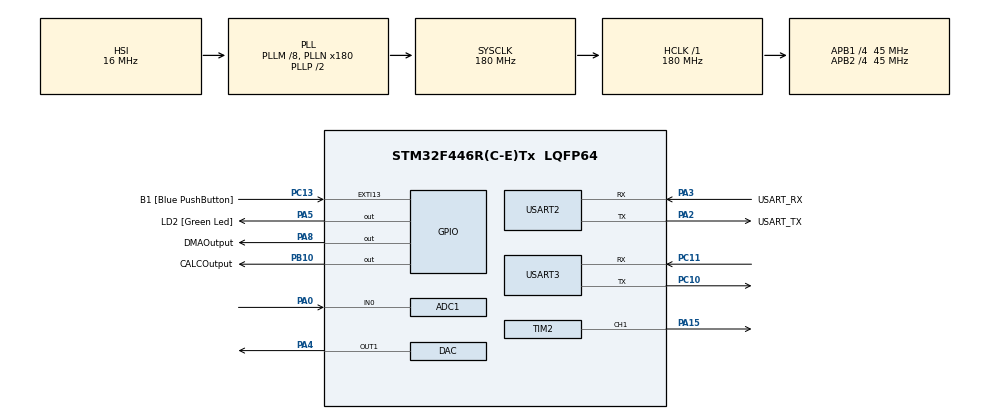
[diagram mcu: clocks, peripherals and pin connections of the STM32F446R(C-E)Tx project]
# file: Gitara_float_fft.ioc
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ADC1.Channel-0\#ChannelRegularConversion=ADC_CHANNEL_0
ADC1.ExternalTrigConv=ADC_EXTERNALTRIGCONV_T2_TRGO
ADC1.ExternalTrigConvEdge=ADC_EXTERNALTRIGCONVEDGE_RISINGFALLING
ADC1.NbrOfConversion=1
ADC1.NbrOfConversionFlag=1
ADC1.Rank-0\#ChannelRegularConversion=1
ADC1.SamplingTime-0\#ChannelRegularConversion=ADC_SAMPLETIME_112CYCLES
ADC1.master=1
DAC.DAC_OutputBuffer=DAC_OUTPUTBUFFER_DISABLE
DAC.DAC_Trigger=DAC_TRIGGER_T2_TRGO
Dma.ADC1.0.Direction=DMA_PERIPH_TO_MEMORY
Dma.ADC1.0.FIFOMode=DMA_FIFOMODE_DISABLE
Dma.ADC1.0.Instance=DMA2_Stream0
Dma.ADC1.0.MemDataAlignment=DMA_MDATAALIGN_HALFWORD
Dma.ADC1.0.MemInc=DMA_MINC_ENABLE
Dma.ADC1.0.Mode=DMA_CIRCULAR
Dma.ADC1.0.PeriphDataAlignment=DMA_PDATAALIGN_HALFWORD
Dma.ADC1.0.PeriphInc=DMA_PINC_DISABLE
Dma.ADC1.0.Priority=DMA_PRIORITY_LOW
Dma.DAC1.2.Direction=DMA_MEMORY_TO_PERIPH
Dma.DAC1.2.FIFOMode=DMA_FIFOMODE_DISABLE
Dma.DAC1.2.Instance=DMA1_Stream5
Dma.DAC1.2.MemDataAlignment=DMA_MDATAALIGN_HALFWORD
Dma.DAC1.2.MemInc=DMA_MINC_ENABLE
Dma.DAC1.2.Mode=DMA_CIRCULAR
Dma.DAC1.2.PeriphDataAlignment=DMA_PDATAALIGN_HALFWORD
Dma.DAC1.2.PeriphInc=DMA_PINC_DISABLE
Dma.DAC1.2.Priority=DMA_PRIORITY_LOW
Dma.Request0=ADC1
Dma.Request1=USART3_TX
Dma.Request2=DAC1
Dma.USART3_TX.1.Direction=DMA_MEMORY_TO_PERIPH
Dma.USART3_TX.1.FIFOMode=DMA_FIFOMODE_DISABLE
Dma.USART3_TX.1.Instance=DMA1_Stream3
Dma.USART3_TX.1.MemDataAlignment=DMA_MDATAALIGN_BYTE
Dma.USART3_TX.1.MemInc=DMA_MINC_ENABLE
Dma.USART3_TX.1.Mode=DMA_NORMAL
Dma.USART3_TX.1.PeriphDataAlignment=DMA_PDATAALIGN_BYTE
Dma.USART3_TX.1.PeriphInc=DMA_PINC_DISABLE
Dma.USART3_TX.1.Priority=DMA_PRIORITY_LOW
Mcu.Family=STM32F4
Mcu.Name=STM32F446R(C-E)Tx
Mcu.Package=LQFP64
NVIC.DMA1_Stream3_IRQn=true\:0\:0\:false\:false\:true\:false\:true\:true
NVIC.DMA1_Stream5_IRQn=true\:0\:0\:false\:false\:true\:false\:true\:true
NVIC.DMA2_Stream0_IRQn=true\:0\:0\:false\:false\:true\:false\:true\:true
NVIC.PriorityGroup=NVIC_PRIORITYGROUP_0
NVIC.USART2_IRQn=true\:0\:0\:false\:false\:true\:true\:true\:true
NVIC.USART3_IRQn=true\:0\:0\:false\:false\:true\:true\:true\:true
PA0-WKUP.Signal=ADCx_IN0
PA13.GPIO_Label=TMS
PA13.Mode=Serial_Wire
PA13.Signal=SYS_JTMS-SWDIO
PA14.GPIO_Label=TCK
PA14.Mode=Serial_Wire
PA14.Signal=SYS_JTCK-SWCLK
PA15.Signal=S_TIM2_CH1_ETR
PA2.GPIO_Label=USART_TX
PA2.Mode=Asynchronous
PA2.Signal=USART2_TX
PA3.GPIO_Label=USART_RX
PA3.Mode=Asynchronous
PA3.Signal=USART2_RX
PA4.Signal=COMP_DAC1_group
PA5.GPIO_Label=LD2 [Green Led]
PA5.Signal=GPIO_Output
PA8.GPIO_Label=DMAOutput
PA8.GPIO_Speed=GPIO_SPEED_FREQ_MEDIUM
PA8.Signal=GPIO_Output
PB10.GPIO_Label=CALCOutput
PB10.Signal=GPIO_Output
PB3.GPIO_Label=SWO
PB3.Signal=SYS_JTDO-SWO
PC10.Mode=Asynchronous
PC10.Signal=USART3_TX
PC11.Mode=Asynchronous
PC11.Signal=USART3_RX
PC13.GPIO_Label=B1 [Blue PushButton]
PC13.GPIO_ModeDefaultEXTI=GPIO_MODE_IT_FALLING
PC13.Signal=GPXTI13
PC14-OSC32_IN.Mode=LSE-External-Oscillator
PC14-OSC32_IN.Signal=RCC_OSC32_IN
PC15-OSC32_OUT.Mode=LSE-External-Oscillator
PC15-OSC32_OUT.Signal=RCC_OSC32_OUT
PH0-OSC_IN.Mode=HSE-External-Oscillator
PH0-OSC_IN.Signal=RCC_OSC_IN
PH1-OSC_OUT.Mode=HSE-External-Oscillator
PH1-OSC_OUT.Signal=RCC_OSC_OUT
ProjectManager.HeapSize=0x200
ProjectManager.StackSize=0x400
ProjectManager.TargetToolchain=STM32CubeIDE
RCC.48MHZClocksFreq_Value=84000000
RCC.AHBFreq_Value=180000000
RCC.APB1CLKDivider=RCC_HCLK_DIV4
RCC.APB1Freq_Value=45000000
RCC.APB1TimFreq_Value=90000000
RCC.APB2CLKDivider=RCC_HCLK_DIV4
RCC.APB2Freq_Value=45000000
RCC.APB2TimFreq_Value=90000000
RCC.CortexFreq_Value=180000000
RCC.FLatency-AdvancedSettings=FLASH_LATENCY_5
RCC.HCLKFreq_Value=180000000
RCC.HSE_VALUE=8000000
RCC.HSI_VALUE=16000000
RCC.PLLM=8
RCC.PLLN=180
RCC.SYSCLKFreq_VALUE=180000000
RCC.SYSCLKSource=RCC_SYSCLKSOURCE_PLLCLK
RCC.USBFreq_Value=180000000
RCC.VCOOutputFreq_Value=360000000
SH.ADCx_IN0.0=ADC1_IN0,IN0
SH.COMP_DAC1_group.0=DAC_OUT1,DAC_OUT1
SH.S_TIM2_CH1_ETR.0=TIM2_CH1,Output Compare1 CH1
TIM2.Channel-Output\ Compare1\ CH1=TIM_CHANNEL_1
TIM2.OC1Preload=DISABLE
TIM2.OCMode_1=TIM_OCMODE_TOGGLE
TIM2.Period=149
TIM2.Prescaler=59
TIM2.Pulse-Output\ Compare1\ CH1=0
TIM2.TIM_MasterOutputTrigger=TIM_TRGO_UPDATE
USART2.VirtualMode=VM_ASYNC
USART3.VirtualMode=VM_ASYNC
VP_TIM2_VS_ClockSourceINT.Mode=Internal
board=NUCLEO-F446RE

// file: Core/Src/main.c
/* USER CODE BEGIN Header */
/**
  ******************************************************************************
  * @file           : main.c
  * @brief          : Main program body
  ******************************************************************************
  * @attention
  *
  * Copyright (c) 2023 STMicroelectronics.
  * All rights reserved.
  *
  * This software is licensed under terms that can be found in the LICENSE file
  * in the root directory of this software component.
  * If no LICENSE file comes with this software, it is provided AS-IS.
  *
  ******************************************************************************
  */
/* USER CODE END Header */
#include "main.h"

/* USER CODE BEGIN Includes */
#include <stdio.h>
#include <stdlib.h>
#define ARM_MATH_CM4
#include "arm_math.h"
/* USER CODE END Includes */

ADC_HandleTypeDef hadc1;
DMA_HandleTypeDef hdma_adc1;

DAC_HandleTypeDef hdac;
DMA_HandleTypeDef hdma_dac1;

TIM_HandleTypeDef htim2;

UART_HandleTypeDef huart2;
UART_HandleTypeDef huart3;
DMA_HandleTypeDef hdma_usart3_tx;

/* USER CODE BEGIN PV */
#define DMABUFLEN 512
#define BUFLEN 256
#define FFTBUFLEN 2048
volatile static uint16_t dmaBuffer[DMABUFLEN] = {0};
float32_t hannWindow1[BUFLEN];
float32_t hannWindow2[2*BUFLEN];
float32_t hannWindow3[BUFLEN/2];
uint16_t signal0[2*BUFLEN];
float32_t signal0filtered[2*BUFLEN];
uint16_t signalbuffer0[2*BUFLEN];
float32_t signalfilteredbuffer0[2*BUFLEN];
uint16_t maxpp[6];
uint16_t maxpp0 = 0;
uint16_t maxpp1 = 0;
uint16_t maxpp2 = 0;
uint16_t maxpp3 = 0;
uint16_t maxpp4 = 0;
uint16_t maxpp5 = 0;
uint16_t fund[6];
float32_t fundamental0 = 0;
float32_t fundamental1 = 0;
float32_t fundamental2 = 0;
float32_t fundamental3 = 0;
float32_t fundamental4 = 0;
float32_t fundamental5 = 0;
uint8_t signalnumber = 0;
uint32_t print = 0;

uint16_t FreqNotes[47] = {
  78, 82, 87, 93, 98, 104, 110, 116, 124, 130, 139, 147, 155, 165, 175, 185, 196, 208, 220, 233, 247, 262, 277, 293, 311, 330, 349, 370, 392,
  415, 440, 466, 494, 523, 554, 587, 622, 659, 698, 740, 784, 831, 880, 932, 988, 1047, 1109
};
uint16_t FreqRange[46];
uint16_t NoteNew[6];
uint16_t NoteOld[6];
uint16_t maxppOld[6];
int16_t Delta[6];
uint8_t txBuffer[6];
//uint16_t Treshold[6] = {1000, 1000, 1000, 1000, 1000, 1000};
uint16_t Treshold[6] = {800, 800, 800, 400, 750, 650};

uint8_t FIR_LENGHT = 31;
float32_t fir_coefficients10k[31]  = {-0.0021043, 0.0000019, 0.0046466, -0.0000007, -0.0094219, 0.0000029, 0.0172049, -0.0000020, -0.0297785, 0.0000052, 0.0515218, -0.0000041, -0.0984164, 0.0000048, 0.3156787, 0.4999957, 0.3156787, 0.0000048, -0.0984164, -0.0000041, 0.0515218, 0.0000052, -0.0297785, -0.0000020, 0.0172049, 0.0000029, -0.0094219, -0.0000007, 0.0046466, 0.0000019, -0.0021043};
float32_t fir_coefficients5k[31]  =  {0.0005669, -0.0002630, -0.0022233, -0.0038547, -0.0018613, 0.0053228, 0.0135453, 0.0133131, -0.0027602, -0.0295939, -0.0460559, -0.0251788, 0.0457091, 0.1495368, 0.2430896, 0.2807522, 0.2430896, 0.1495368, 0.0457091, -0.0251788, -0.0460559, -0.0295939, -0.0027602, 0.0133131, 0.0135453, 0.0053228, -0.0018613, -0.0038547, -0.0022233, -0.00026530, 0.0005669};
float32_t fir_coefficients2_5k[31] = {0.0064131, 0.0057191, 0.0051066, 0.0013561, -0.0056292, -0.0145003, -0.0224276, -0.0255772, -0.0201251, -0.0035005, 0.0244877, 0.0610609, 0.1007693, 0.1365633, 0.1614632, 0.1703842, 0.1614632, 0.1365633, 0.1007693, 0.0610609, 0.0244877, -0.0035005, -0.0201251, -0.0255772, -0.0224276, -0.0145003, -0.0056292, 0.0013561, 0.0051066, 0.0057191, 0.0064131};
arm_fir_instance_f32 fir_instance0;
float32_t fir_in_arm0;
float32_t fir_out_arm0;
float32_t fir_state0[31];

// SINE_TABLE_SIZE = Fs / Fsine
#define SINE_TABLE_SIZE 45
uint16_t sine_table[SINE_TABLE_SIZE];

/* USER CODE END PV */

void SystemClock_Config(void);
static void MX_GPIO_Init(void);
static void MX_DMA_Init(void);
static void MX_USART2_UART_Init(void);
static void MX_ADC1_Init(void);
static void MX_TIM2_Init(void);
static void MX_USART3_UART_Init(void);
static void MX_DAC_Init(void);
/* USER CODE BEGIN PFP */
void filter(uint16_t inputArray[], uint16_t size, float32_t coefficients[], uint16_t outputArray[], uint16_t lastSamples[]);
void calculateFFT(float32_t inputArray[], uint16_t size, uint16_t* maxpp, float32_t* fundamental, uint16_t fs);
void FundamentalToNote(uint16_t FundamentalNew[], uint16_t NoteNew[6], uint16_t FreqRange[46]);
/* USER CODE END PFP */

/* USER CODE BEGIN 0 */
int __io_putchar(int ch)
{
  if (ch == '\n') {
    __io_putchar('\r');
  }

  HAL_UART_Transmit(&huart2, (uint8_t*)&ch, 1, HAL_MAX_DELAY);

  return 1;
}

void generate_sine_table(void){
	for(int i = 0; i<SINE_TABLE_SIZE; i++){
		float angle = (2.0f * M_PI * i)/ (float)SINE_TABLE_SIZE;
		float sine_value = (sinf(angle) + 1.0f)/2.0f;
		sine_table[i] = (uint16_t)(sine_value * 4095);
	}
}

void calculateFFT(float32_t inputArray[], uint16_t size, uint16_t* maxpp, float32_t* fundamental, uint16_t fs) {
	// Zmiana stanu na pinie PB10 Debug
	HAL_GPIO_TogglePin(CALCOutput_GPIO_Port, CALCOutput_Pin);
	//Przekonwertowanie sygnału z uint16 na float32
    float32_t signal_float32[size];
	for (int i = 0; i < size; i++){
		signal_float32[i] = inputArray[i];
	}
	//Obliczenie wartości średniej sygnału/składowej stałej oraz jej odjęcie
    float32_t mean = 0.0f;
    arm_mean_f32(signal_float32, size,  &mean);
    arm_offset_f32(signal_float32, -mean, signal_float32, size);
    //Nałożenie okna Hanna na sygnał
    float32_t signal_filtered[size];
	if(size==BUFLEN){
		arm_mult_f32(signal_float32, hannWindow1, signal_filtered, size);
	}else if(size==2*BUFLEN)
		arm_mult_f32(signal_float32, hannWindow2, signal_filtered, size);
	else arm_mult_f32(signal_float32, hannWindow3, signal_filtered, size);
	//Znalezienie wartości międzyszczytowych
	float32_t max;
	float32_t min;
	uint32_t maxIndex;
	uint32_t minIndex;
	arm_max_f32(signal_filtered, size, &max, &maxIndex);
	arm_min_f32(signal_filtered, size, &min, &minIndex);

	//Obliczenie FFT
	float32_t signal_fft[FFTBUFLEN] = {0};
	for(int i = 0; i<size; i++)
		signal_fft[i]=signal_filtered[i];

	float32_t fft_Bufor[FFTBUFLEN];
	arm_rfft_fast_instance_f32 rfft_inst;
	arm_rfft_fast_init_f32(&rfft_inst, FFTBUFLEN);

	arm_rfft_fast_f32(&rfft_inst, signal_fft, fft_Bufor, 0);

	//Obliczenie amplitud poszczególnych prążków
	float32_t fft_wynik[FFTBUFLEN/2];
		float32_t fft_max = 0;
		uint16_t fft_max_index = 0;
		for(int i = 12; i < (FFTBUFLEN/2); i++){
			fft_wynik[i]=sqrtf((fft_Bufor[2*i]*fft_Bufor[2*i])+(fft_Bufor[2*i+1]*fft_Bufor[2*i+1]));
			if(fft_wynik[i]>fft_max){
				fft_max=fft_wynik[i];
				fft_max_index = i;
			}
		}
		//Normalizacja wyniku FFT
		for(int i = 0; i < (FFTBUFLEN/2); i++){
				fft_wynik[i]=fft_wynik[i]/fft_max;
			}
//		for(int i = 0; i < (FFTBUFLEN/2); i++){
//					if(fft_wynik[i]< 0.3)
//						fft_wynik[i] = 0;
//				}
		//Odnalezienie indeksu częstotliwości podstawowej
		if(fft_max_index > 0){
			while ((fft_wynik[fft_max_index / 2] > 0.50) || (fft_wynik[fft_max_index / 2 - 1] > 0.50) || (fft_wynik[fft_max_index / 2 + 1] > 0.50)) {
				fft_max_index /= 2;
			}
		}
		while (fft_max_index > 0
				&& fft_wynik[fft_max_index + 1] > fft_wynik[fft_max_index]) {
			fft_max_index++;
		}
		while (fft_max_index > 0
				&& fft_wynik[fft_max_index - 1] > fft_wynik[fft_max_index]) {
			fft_max_index--;
		}
		if(fft_max_index > 0){
			while ((fft_wynik[fft_max_index / 3] > 0.50) || (fft_wynik[fft_max_index / 3 - 1] > 0.50) || (fft_wynik[fft_max_index / 3 + 1] > 0.50)) {
				fft_max_index /= 3;
			}
		}
		while (fft_max_index > 0
				&& fft_wynik[fft_max_index + 1] > fft_wynik[fft_max_index]) {
			fft_max_index++;
		}
		while (fft_max_index > 0
				&& fft_wynik[fft_max_index - 1] > fft_wynik[fft_max_index]) {
			fft_max_index--;
		}
		if(fft_max_index > 0){
			while ((fft_wynik[fft_max_index / 4] > 0.50) || (fft_wynik[fft_max_index / 4 - 1] > 0.50) || (fft_wynik[fft_max_index / 4 + 1] > 0.50)) {
				fft_max_index /= 4;
			}
		}
		while (fft_max_index > 0
				&& fft_wynik[fft_max_index + 1] > fft_wynik[fft_max_index]) {
			fft_max_index++;
		}
		while (fft_max_index > 0
				&& fft_wynik[fft_max_index - 1] > fft_wynik[fft_max_index]) {
			fft_max_index--;
		}
		float32_t fundamental_freq = (((float32_t)fft_max_index) * (float32_t)fs / (float32_t)FFTBUFLEN);

		int16_t peak_to_peak_value = max - min;
		*maxpp = peak_to_peak_value;
		*fundamental = fundamental_freq;

		uint16_t printall = 0;
		if(printall == 1){
			printf("\nRaw signal\n");
			for(int i = 0; i<2*BUFLEN; i++){
				printf("%d, ", inputArray[i]);
			}
			printf("\nSignal filtered\n");
			for(int i = 0; i<2*BUFLEN; i++){
				printf("%f, ", signal_filtered[i]);
			}
			printf("\nFFT\n");
			for(int i = 0; i<FFTBUFLEN/2; i++){
				printf("%f, ", fft_wynik[i]);
			}
		}
}

void FundamentalToNote(uint16_t FundamentalNew[], uint16_t NoteNew[6], uint16_t FreqRange[46]) {
  for (int i = 0; i < 6; i++) {
    int note = 0;
    for (int j = 0; j < 46; j++) {
      if (FundamentalNew[i] >= FreqRange[j] && FundamentalNew[i] < FreqRange[j + 1]) {
        note = j;  // Przypisz odpowiednią notę
        break;  // Przerwij pętlę po znalezieniu odpowiedniego zakresu
      }
    }

    NoteNew[i] = note;
  }
}
/* USER CODE END 0 */

int main(void)
{

  /* MCU Configuration--------------------------------------------------------*/

  /* Reset of all peripherals, Initializes the Flash interface and the Systick. */
  HAL_Init();

  /* Configure the system clock */
  SystemClock_Config();

  /* Initialize all configured peripherals */
  MX_GPIO_Init();
  MX_DMA_Init();
  MX_USART2_UART_Init();
  MX_ADC1_Init();
  MX_TIM2_Init();
  MX_USART3_UART_Init();
  MX_DAC_Init();
  /* USER CODE BEGIN 2 */
  arm_fir_init_f32(&fir_instance0, FIR_LENGHT, fir_coefficients10k, fir_state0, 1);

  for(int i = 0; i < 46; i++){
	  FreqRange[i] = (FreqNotes[i] + FreqNotes[i+1])/2;
  }
  for(int i = 0; i < BUFLEN; i++){
	  hannWindow1[i] = (0.5 - (0.5 * cos ( (2.0 * PI * i) / (BUFLEN - 1))));
  }
  for(int i = 0; i < 2*BUFLEN; i++){
  	  hannWindow2[i] = (0.5 - (0.5 * cos ( (2.0 * PI * i) / (2*BUFLEN - 1))));
  }
  for(int i = 0; i < BUFLEN/2; i++){
	  hannWindow3[i] = (0.5 - (0.5 * cos ( (2.0 * PI * i) / (BUFLEN/2 - 1))));
  }
  generate_sine_table();
  HAL_DAC_Start_DMA(&hdac, DAC_CHANNEL_1, (uint32_t*)sine_table, SINE_TABLE_SIZE, DAC_ALIGN_12B_R);
  HAL_ADC_Start_DMA(&hadc1, (uint32_t *)dmaBuffer, DMABUFLEN);
    HAL_Delay(10);
    HAL_TIM_Base_Start(&htim2);
    HAL_TIM_OC_Start(&htim2, TIM_CHANNEL_1);
  /* USER CODE END 2 */

  /* Infinite loop */
  while (1)
  {

  }
}

void SystemClock_Config(void)
{
  RCC_OscInitTypeDef RCC_OscInitStruct = {0};
  RCC_ClkInitTypeDef RCC_ClkInitStruct = {0};

  /** Configure the main internal regulator output voltage
  */
  __HAL_RCC_PWR_CLK_ENABLE();
  __HAL_PWR_VOLTAGESCALING_CONFIG(PWR_REGULATOR_VOLTAGE_SCALE1);

  /** Initializes the RCC Oscillators according to the specified parameters
  * in the RCC_OscInitTypeDef structure.
  */
  RCC_OscInitStruct.OscillatorType = RCC_OSCILLATORTYPE_HSI;
  RCC_OscInitStruct.HSIState = RCC_HSI_ON;
  RCC_OscInitStruct.HSICalibrationValue = RCC_HSICALIBRATION_DEFAULT;
  RCC_OscInitStruct.PLL.PLLState = RCC_PLL_ON;
  RCC_OscInitStruct.PLL.PLLSource = RCC_PLLSOURCE_HSI;
  RCC_OscInitStruct.PLL.PLLM = 8;
  RCC_OscInitStruct.PLL.PLLN = 180;
  RCC_OscInitStruct.PLL.PLLP = RCC_PLLP_DIV2;
  RCC_OscInitStruct.PLL.PLLQ = 2;
  RCC_OscInitStruct.PLL.PLLR = 2;
  if (HAL_RCC_OscConfig(&RCC_OscInitStruct) != HAL_OK)
  {
    Error_Handler();
  }

  /** Activate the Over-Drive mode
  */
  if (HAL_PWREx_EnableOverDrive() != HAL_OK)
  {
    Error_Handler();
  }

  /** Initializes the CPU, AHB and APB buses clocks
  */
  RCC_ClkInitStruct.ClockType = RCC_CLOCKTYPE_HCLK|RCC_CLOCKTYPE_SYSCLK
                              |RCC_CLOCKTYPE_PCLK1|RCC_CLOCKTYPE_PCLK2;
  RCC_ClkInitStruct.SYSCLKSource = RCC_SYSCLKSOURCE_PLLCLK;
  RCC_ClkInitStruct.AHBCLKDivider = RCC_SYSCLK_DIV1;
  RCC_ClkInitStruct.APB1CLKDivider = RCC_HCLK_DIV4;
  RCC_ClkInitStruct.APB2CLKDivider = RCC_HCLK_DIV4;

  if (HAL_RCC_ClockConfig(&RCC_ClkInitStruct, FLASH_LATENCY_5) != HAL_OK)
  {
    Error_Handler();
  }
}

static void MX_ADC1_Init(void)
{

  ADC_ChannelConfTypeDef sConfig = {0};

  /** Configure the global features of the ADC (Clock, Resolution, Data Alignment and number of conversion)
  */
  hadc1.Instance = ADC1;
  hadc1.Init.ClockPrescaler = ADC_CLOCK_SYNC_PCLK_DIV2;
  hadc1.Init.Resolution = ADC_RESOLUTION_12B;
  hadc1.Init.ScanConvMode = DISABLE;
  hadc1.Init.ContinuousConvMode = DISABLE;
  hadc1.Init.DiscontinuousConvMode = DISABLE;
  hadc1.Init.ExternalTrigConvEdge = ADC_EXTERNALTRIGCONVEDGE_RISINGFALLING;
  hadc1.Init.ExternalTrigConv = ADC_EXTERNALTRIGCONV_T2_TRGO;
  hadc1.Init.DataAlign = ADC_DATAALIGN_RIGHT;
  hadc1.Init.NbrOfConversion = 1;
  hadc1.Init.DMAContinuousRequests = DISABLE;
  hadc1.Init.EOCSelection = ADC_EOC_SINGLE_CONV;
  if (HAL_ADC_Init(&hadc1) != HAL_OK)
  {
    Error_Handler();
  }

  /** Configure for the selected ADC regular channel its corresponding rank in the sequencer and its sample time.
  */
  sConfig.Channel = ADC_CHANNEL_0;
  sConfig.Rank = 1;
  sConfig.SamplingTime = ADC_SAMPLETIME_112CYCLES;
  if (HAL_ADC_ConfigChannel(&hadc1, &sConfig) != HAL_OK)
  {
    Error_Handler();
  }

}

static void MX_DAC_Init(void)
{

  DAC_ChannelConfTypeDef sConfig = {0};

  /** DAC Initialization
  */
  hdac.Instance = DAC;
  if (HAL_DAC_Init(&hdac) != HAL_OK)
  {
    Error_Handler();
  }

  /** DAC channel OUT1 config
  */
  sConfig.DAC_Trigger = DAC_TRIGGER_T2_TRGO;
  sConfig.DAC_OutputBuffer = DAC_OUTPUTBUFFER_DISABLE;
  if (HAL_DAC_ConfigChannel(&hdac, &sConfig, DAC_CHANNEL_1) != HAL_OK)
  {
    Error_Handler();
  }

}

static void MX_TIM2_Init(void)
{

  TIM_ClockConfigTypeDef sClockSourceConfig = {0};
  TIM_MasterConfigTypeDef sMasterConfig = {0};
  TIM_OC_InitTypeDef sConfigOC = {0};

  htim2.Instance = TIM2;
  htim2.Init.Prescaler = 59;
  htim2.Init.CounterMode = TIM_COUNTERMODE_UP;
  htim2.Init.Period = 149;
  htim2.Init.ClockDivision = TIM_CLOCKDIVISION_DIV1;
  htim2.Init.AutoReloadPreload = TIM_AUTORELOAD_PRELOAD_DISABLE;
  if (HAL_TIM_Base_Init(&htim2) != HAL_OK)
  {
    Error_Handler();
  }
  sClockSourceConfig.ClockSource = TIM_CLOCKSOURCE_INTERNAL;
  if (HAL_TIM_ConfigClockSource(&htim2, &sClockSourceConfig) != HAL_OK)
  {
    Error_Handler();
  }
  if (HAL_TIM_OC_Init(&htim2) != HAL_OK)
  {
    Error_Handler();
  }
  sMasterConfig.MasterOutputTrigger = TIM_TRGO_UPDATE;
  sMasterConfig.MasterSlaveMode = TIM_MASTERSLAVEMODE_DISABLE;
  if (HAL_TIMEx_MasterConfigSynchronization(&htim2, &sMasterConfig) != HAL_OK)
  {
    Error_Handler();
  }
  sConfigOC.OCMode = TIM_OCMODE_TOGGLE;
  sConfigOC.Pulse = 0;
  sConfigOC.OCPolarity = TIM_OCPOLARITY_HIGH;
  sConfigOC.OCFastMode = TIM_OCFAST_DISABLE;
  if (HAL_TIM_OC_ConfigChannel(&htim2, &sConfigOC, TIM_CHANNEL_1) != HAL_OK)
  {
    Error_Handler();
  }
  HAL_TIM_MspPostInit(&htim2);

}

static void MX_USART2_UART_Init(void)
{

  huart2.Instance = USART2;
  huart2.Init.BaudRate = 115200;
  huart2.Init.WordLength = UART_WORDLENGTH_8B;
  huart2.Init.StopBits = UART_STOPBITS_1;
  huart2.Init.Parity = UART_PARITY_NONE;
  huart2.Init.Mode = UART_MODE_TX_RX;
  huart2.Init.HwFlowCtl = UART_HWCONTROL_NONE;
  huart2.Init.OverSampling = UART_OVERSAMPLING_16;
  if (HAL_UART_Init(&huart2) != HAL_OK)
  {
    Error_Handler();
  }

}

static void MX_USART3_UART_Init(void)
{

  huart3.Instance = USART3;
  huart3.Init.BaudRate = 115200;
  huart3.Init.WordLength = UART_WORDLENGTH_8B;
  huart3.Init.StopBits = UART_STOPBITS_1;
  huart3.Init.Parity = UART_PARITY_NONE;
  huart3.Init.Mode = UART_MODE_TX_RX;
  huart3.Init.HwFlowCtl = UART_HWCONTROL_NONE;
  huart3.Init.OverSampling = UART_OVERSAMPLING_16;
  if (HAL_UART_Init(&huart3) != HAL_OK)
  {
    Error_Handler();
  }

}

static void MX_DMA_Init(void)
{

  /* DMA controller clock enable */
  __HAL_RCC_DMA2_CLK_ENABLE();
  __HAL_RCC_DMA1_CLK_ENABLE();

  /* DMA interrupt init */
  /* DMA1_Stream3_IRQn interrupt configuration */
  HAL_NVIC_SetPriority(DMA1_Stream3_IRQn, 0, 0);
  HAL_NVIC_EnableIRQ(DMA1_Stream3_IRQn);
  /* DMA1_Stream5_IRQn interrupt configuration */
  HAL_NVIC_SetPriority(DMA1_Stream5_IRQn, 0, 0);
  HAL_NVIC_EnableIRQ(DMA1_Stream5_IRQn);
  /* DMA2_Stream0_IRQn interrupt configuration */
  HAL_NVIC_SetPriority(DMA2_Stream0_IRQn, 0, 0);
  HAL_NVIC_EnableIRQ(DMA2_Stream0_IRQn);

}

static void MX_GPIO_Init(void)
{
  GPIO_InitTypeDef GPIO_InitStruct = {0};

  /* GPIO Ports Clock Enable */
  __HAL_RCC_GPIOC_CLK_ENABLE();
  __HAL_RCC_GPIOH_CLK_ENABLE();
  __HAL_RCC_GPIOA_CLK_ENABLE();
  __HAL_RCC_GPIOB_CLK_ENABLE();

  /*Configure GPIO pin Output Level */
  HAL_GPIO_WritePin(GPIOA, LD2_Pin|DMAOutput_Pin, GPIO_PIN_RESET);

  /*Configure GPIO pin Output Level */
  HAL_GPIO_WritePin(CALCOutput_GPIO_Port, CALCOutput_Pin, GPIO_PIN_RESET);

  /*Configure GPIO pin : B1_Pin */
  GPIO_InitStruct.Pin = B1_Pin;
  GPIO_InitStruct.Mode = GPIO_MODE_IT_FALLING;
  GPIO_InitStruct.Pull = GPIO_NOPULL;
  HAL_GPIO_Init(B1_GPIO_Port, &GPIO_InitStruct);

  /*Configure GPIO pin : LD2_Pin */
  GPIO_InitStruct.Pin = LD2_Pin;
  GPIO_InitStruct.Mode = GPIO_MODE_OUTPUT_PP;
  GPIO_InitStruct.Pull = GPIO_NOPULL;
  GPIO_InitStruct.Speed = GPIO_SPEED_FREQ_LOW;
  HAL_GPIO_Init(LD2_GPIO_Port, &GPIO_InitStruct);

  /*Configure GPIO pin : CALCOutput_Pin */
  GPIO_InitStruct.Pin = CALCOutput_Pin;
  GPIO_InitStruct.Mode = GPIO_MODE_OUTPUT_PP;
  GPIO_InitStruct.Pull = GPIO_NOPULL;
  GPIO_InitStruct.Speed = GPIO_SPEED_FREQ_LOW;
  HAL_GPIO_Init(CALCOutput_GPIO_Port, &GPIO_InitStruct);

  /*Configure GPIO pin : DMAOutput_Pin */
  GPIO_InitStruct.Pin = DMAOutput_Pin;
  GPIO_InitStruct.Mode = GPIO_MODE_OUTPUT_PP;
  GPIO_InitStruct.Pull = GPIO_NOPULL;
  GPIO_InitStruct.Speed = GPIO_SPEED_FREQ_MEDIUM;
  HAL_GPIO_Init(DMAOutput_GPIO_Port, &GPIO_InitStruct);

}

/* USER CODE BEGIN 4 */
void HAL_ADC_ConvCpltCallback(ADC_HandleTypeDef* hadc)
{
	//Zmiana stanu na pinie D7
	HAL_GPIO_TogglePin(DMAOutput_GPIO_Port, DMAOutput_Pin);

	//Przepisanie sygnału do tablicy
	for(uint32_t i = 0; i < 2 * BUFLEN; i++){
		signalbuffer0[i] = dmaBuffer[i];
	}

	//Wystartowanie kolejnego cyklu próbkowania
		HAL_ADC_Start_DMA(&hadc1, (uint32_t*) dmaBuffer, DMABUFLEN);

	HAL_GPIO_TogglePin(DMAOutput_GPIO_Port, DMAOutput_Pin);

	//Przefiltrowanie sygnałów
	for(int i = 0; i < 2 * BUFLEN; i++){
		fir_in_arm0 = (float32_t) signalbuffer0[i];
		arm_fir_f32(&fir_instance0, &fir_in_arm0, &fir_out_arm0, 1);
		signal0filtered[i] = fir_out_arm0;
	}
	HAL_GPIO_TogglePin(DMAOutput_GPIO_Port, DMAOutput_Pin);

		//Obliczenie częstotliwości podstawowej
			calculateFFT(signal0filtered, 2*BUFLEN, &maxpp0, &fundamental0, 10000);
			fund[0] = (uint16_t)fundamental0;
			maxpp[0] = maxpp0;
			printf("F0 = %d\n", fund[0]);
//			printf("Max = %d\n", maxpp[0]);

	uint16_t data[2];
	data[0] = (uint16_t)fundamental0;
	data[1] = maxpp0;

	HAL_UART_Transmit_DMA(&huart3, (uint8_t *)data, sizeof(data) * 2);
//	HAL_UART_Transmit(&huart3, (uint8_t *)data, sizeof(data) * 2, 10);

}

void HAL_ADC_ConvHalfCpltCallback(ADC_HandleTypeDef* hadc)
{
	//Zmiana stanu na pinie D7
	HAL_GPIO_TogglePin(DMAOutput_GPIO_Port, DMAOutput_Pin);

	//Przesunięcie próbek
	for(int i = 0; i < BUFLEN; i++){
		signalbuffer0[i] = signalbuffer0[i + BUFLEN];
	}

	//Rozdzielenie sygnałów do osobnych tablic
	for(int i = 0; i < BUFLEN; i++){
		signalbuffer0[i + BUFLEN] = dmaBuffer[i];
	}
	//Przefiltrowanie sygnałów
	HAL_GPIO_TogglePin(DMAOutput_GPIO_Port, DMAOutput_Pin);
	for(int i = 0; i < 2 * BUFLEN; i++){
		fir_in_arm0 = (float32_t) signalbuffer0[i];
		arm_fir_f32(&fir_instance0, &fir_in_arm0, &fir_out_arm0, 1);
		signal0filtered[i] = fir_out_arm0;
	}
	HAL_GPIO_TogglePin(DMAOutput_GPIO_Port, DMAOutput_Pin);

		//Obliczenie częstotliwości podstawowej
		calculateFFT(signal0filtered, 2*BUFLEN, &maxpp0, &fundamental0, 10000);
		fund[0] = (uint16_t)fundamental0;
		maxpp[0] = maxpp0;
		printf("F0 = %d\n", fund[0]);
//		printf("Max = %d\n", maxpp[0]);

}
/* USER CODE END 4 */

void Error_Handler(void)
{
  __disable_irq();
  while (1)
  {
  }
}
